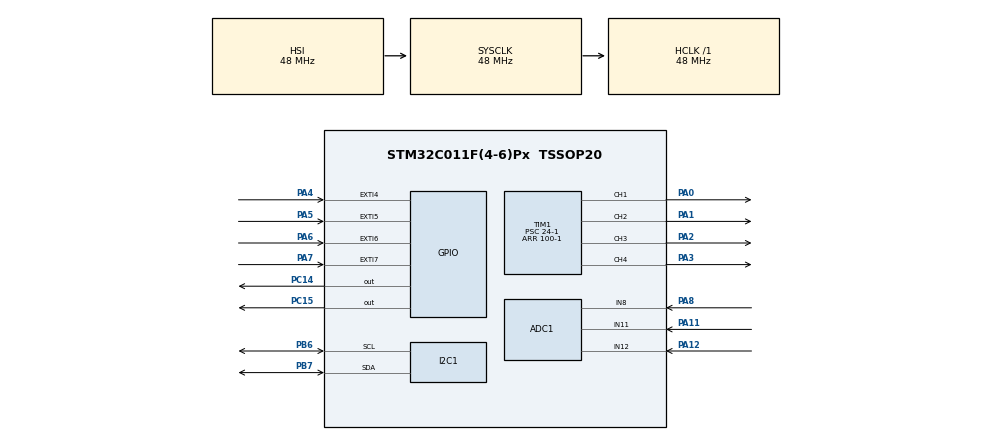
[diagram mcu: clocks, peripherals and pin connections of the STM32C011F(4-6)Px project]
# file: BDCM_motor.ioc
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ADC1.Channel-0\#ChannelRegularConversion=ADC_CHANNEL_TEMPSENSOR
ADC1.NbrOfConversionFlag=1
ADC1.Rank-0\#ChannelRegularConversion=1
ADC1.SamplingTime-0\#ChannelRegularConversion=ADC_SAMPLINGTIME_COMMON_1
ADC1.SelectedChannel=ADC_CHANNEL_TEMPSENSOR|ADC_CHANNEL_8|ADC_CHANNEL_11|ADC_CHANNEL_12|ADC_CHANNEL_VDDA
ADC1.master=1
I2C1.OwnAddress=0x60
I2C1.Timing=0x20303E5D
Mcu.Family=STM32C0
Mcu.Name=STM32C011F(4-6)Px
Mcu.Package=TSSOP20
NVIC.EXTI4_15_IRQn=true\:0\:0\:false\:false\:true\:true\:true\:true
NVIC.I2C1_IRQn=true\:0\:0\:false\:false\:true\:true\:true\:true
NVIC.TIM14_IRQn=true\:0\:0\:false\:false\:true\:true\:true\:true
NVIC.TIM1_CC_IRQn=true\:0\:0\:false\:false\:true\:true\:true\:true
PA0.Signal=S_TIM1_CH1
PA1.Signal=S_TIM1_CH2
PA11\ [PA9].Mode=IN11
PA11\ [PA9].Signal=ADC1_IN11
PA12\ [PA10].Mode=IN12
PA12\ [PA10].Signal=ADC1_IN12
PA2.Signal=S_TIM1_CH3
PA3.Signal=S_TIM1_CH4
PA4.GPIO_ModeDefaultEXTI=GPIO_MODE_IT_RISING_FALLING
PA4.GPIO_PuPd=GPIO_PULLUP
PA4.Signal=GPXTI4
PA5.GPIO_ModeDefaultEXTI=GPIO_MODE_IT_RISING_FALLING
PA5.GPIO_PuPd=GPIO_PULLUP
PA5.Signal=GPXTI5
PA6.GPIO_ModeDefaultEXTI=GPIO_MODE_IT_RISING_FALLING
PA6.GPIO_PuPd=GPIO_PULLUP
PA6.Signal=GPXTI6
PA7.GPIO_ModeDefaultEXTI=GPIO_MODE_IT_RISING_FALLING
PA7.GPIO_PuPd=GPIO_PULLUP
PA7.Signal=GPXTI7
PA8.Mode=IN8
PA8.Signal=ADC1_IN8
PB6.GPIO_Pu=GPIO_PULLUP
PB6.Mode=I2C
PB6.Signal=I2C1_SCL
PB7.GPIO_Pu=GPIO_PULLUP
PB7.Mode=I2C
PB7.Signal=I2C1_SDA
PC14-OSCX_IN\ (PC14).Signal=GPIO_Output
PC15-OSCX_OUT\ (PC15).Signal=GPIO_Output
ProjectManager.HeapSize=0x200
ProjectManager.StackSize=0x400
ProjectManager.TargetToolchain=STM32CubeIDE
RCC.ADCFreq_Value=48000000
RCC.AHBFreq_Value=48000000
RCC.CortexFreq_Value=48000000
RCC.EXTERNAL_CLOCK_VALUE=12288000
RCC.HCLKFreq_Value=48000000
RCC.HSE_VALUE=8000000
RCC.HSISYSCLKDivider=RCC_HSI_DIV1
RCC.HSI_VALUE=48000000
RCC.LSE_VALUE=32768
RCC.SYSCLKFreq_VALUE=48000000
SH.S_TIM1_CH1.0=TIM1_CH1,PWM Generation1 CH1
SH.S_TIM1_CH2.0=TIM1_CH2,PWM Generation2 CH2
SH.S_TIM1_CH3.0=TIM1_CH3,PWM Generation3 CH3
SH.S_TIM1_CH4.0=TIM1_CH4,PWM Generation4 CH4
TIM1.Channel-PWM\ Generation1\ CH1=TIM_CHANNEL_1
TIM1.Channel-PWM\ Generation2\ CH2=TIM_CHANNEL_2
TIM1.Channel-PWM\ Generation3\ CH3=TIM_CHANNEL_3
TIM1.Channel-PWM\ Generation4\ CH4=TIM_CHANNEL_4
TIM1.Period=100-1
TIM1.Prescaler=24-1
TIM14.AutoReloadPreload=TIM_AUTORELOAD_PRELOAD_DISABLE
TIM14.Channel=TIM_CHANNEL_1
TIM14.Period=1000
TIM14.Prescaler=48-1
VP_ADC1_TempSens_Input.Mode=IN-TempSens
VP_ADC1_Vdda_Input.Mode=IN-VDDA
VP_TIM14_VS_ClockSourceINT.Mode=Enable_Timer
VP_TIM14_VS_no_output1.Mode=Output Compare1 No Output
board=custom

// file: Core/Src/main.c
/* USER CODE BEGIN Header */
/**
  ******************************************************************************
  * @file           : main.c
  * @brief          : Main program body
  ******************************************************************************
  * @attention
  *
  * Copyright (c) 2024 STMicroelectronics.
  * All rights reserved.
  *
  * This software is licensed under terms that can be found in the LICENSE file
  * in the root directory of this software component.
  * If no LICENSE file comes with this software, it is provided AS-IS.
  *
  ******************************************************************************
  */
/* USER CODE END Header */
#include "main.h"

ADC_HandleTypeDef hadc1;

I2C_HandleTypeDef hi2c1;

TIM_HandleTypeDef htim1;
TIM_HandleTypeDef htim14;

void SystemClock_Config(void);
static void MX_GPIO_Init(void);
static void MX_ADC1_Init(void);
static void MX_TIM1_Init(void);
static void MX_TIM14_Init(void);
static void MX_I2C1_Init(void);

/* USER CODE BEGIN 0 */
void HAL_TIM_PeriodElapsedCallback(TIM_HandleTypeDef *htim)
  {
  	if (htim == &htim1){

  	} else if (htim == &htim14){
  		HAL_GPIO_TogglePin(GPIOC, GPIO_PIN_14);
  		HAL_GPIO_TogglePin(GPIOC, GPIO_PIN_15);
  		__HAL_TIM_SET_COMPARE(&htim1, TIM_CHANNEL_1, 0);
  		__HAL_TIM_SET_COMPARE(&htim1, TIM_CHANNEL_2, 99);
  		HAL_Delay(100);
  		HAL_GPIO_TogglePin(GPIOC, GPIO_PIN_14);
  		HAL_GPIO_TogglePin(GPIOC, GPIO_PIN_15);
  		__HAL_TIM_SET_COMPARE(&htim1, TIM_CHANNEL_1, 99);
  		__HAL_TIM_SET_COMPARE(&htim1, TIM_CHANNEL_2, 0);
  	}
  }

void HAL_GPIO_EXTI_Callback(uint16_t GPIO_Pin)
{
	if (GPIO_Pin == GPIO_PIN_4) {

	} else if (GPIO_Pin == GPIO_PIN_5) {

	} else if (GPIO_Pin == GPIO_PIN_6) {

	} else if (GPIO_Pin == GPIO_PIN_7) {

	}
}
/* USER CODE END 0 */

int main(void)
{

  /* MCU Configuration--------------------------------------------------------*/

  /* Reset of all peripherals, Initializes the Flash interface and the Systick. */
  HAL_Init();

  /* Configure the system clock */
  SystemClock_Config();

  /* Initialize all configured peripherals */
  MX_GPIO_Init();
  MX_ADC1_Init();
  MX_TIM1_Init();
  MX_TIM14_Init();
  MX_I2C1_Init();
  /* USER CODE BEGIN 2 */

  HAL_TIM_PWM_Start(&htim1, TIM_CHANNEL_1);
  HAL_TIM_PWM_Start(&htim1, TIM_CHANNEL_2);
  HAL_TIM_PWM_Start(&htim1, TIM_CHANNEL_3);
  HAL_TIM_PWM_Start(&htim1, TIM_CHANNEL_4);
  __HAL_TIM_SET_COMPARE(&htim1, TIM_CHANNEL_1, 50);
  __HAL_TIM_SET_COMPARE(&htim1, TIM_CHANNEL_2, 99);
  __HAL_TIM_SET_COMPARE(&htim1, TIM_CHANNEL_3, 50);
  __HAL_TIM_SET_COMPARE(&htim1, TIM_CHANNEL_4, 99);

  HAL_TIM_PWM_Start(&htim1, TIM_CHANNEL_1);
  HAL_TIM_PWM_Start(&htim1, TIM_CHANNEL_2);
  HAL_TIM_PWM_Start(&htim1, TIM_CHANNEL_3);
  HAL_TIM_PWM_Start(&htim1, TIM_CHANNEL_4);

  HAL_GPIO_TogglePin(GPIOC, GPIO_PIN_14);
  /* USER CODE END 2 */

  /* Infinite loop */
  /* USER CODE BEGIN WHILE */
  while (1)
  {
	  HAL_GPIO_TogglePin(GPIOC, GPIO_PIN_14);
	  HAL_GPIO_TogglePin(GPIOC, GPIO_PIN_15);
	  __HAL_TIM_SET_COMPARE(&htim1, TIM_CHANNEL_1, 0);
	  __HAL_TIM_SET_COMPARE(&htim1, TIM_CHANNEL_2, 99);
	  HAL_Delay(100);
	  HAL_GPIO_TogglePin(GPIOC, GPIO_PIN_14);
	  HAL_GPIO_TogglePin(GPIOC, GPIO_PIN_15);
	  __HAL_TIM_SET_COMPARE(&htim1, TIM_CHANNEL_1, 99);
	  __HAL_TIM_SET_COMPARE(&htim1, TIM_CHANNEL_2, 0);
	  HAL_Delay(100);
    /* USER CODE END WHILE */

  }
}

void SystemClock_Config(void)
{
  RCC_OscInitTypeDef RCC_OscInitStruct = {0};
  RCC_ClkInitTypeDef RCC_ClkInitStruct = {0};

  /** Initializes the RCC Oscillators according to the specified parameters
  * in the RCC_OscInitTypeDef structure.
  */
  RCC_OscInitStruct.OscillatorType = RCC_OSCILLATORTYPE_HSI;
  RCC_OscInitStruct.HSIState = RCC_HSI_ON;
  RCC_OscInitStruct.HSIDiv = RCC_HSI_DIV1;
  RCC_OscInitStruct.HSICalibrationValue = RCC_HSICALIBRATION_DEFAULT;
  if (HAL_RCC_OscConfig(&RCC_OscInitStruct) != HAL_OK)
  {
    Error_Handler();
  }

  /** Initializes the CPU, AHB and APB buses clocks
  */
  RCC_ClkInitStruct.ClockType = RCC_CLOCKTYPE_HCLK|RCC_CLOCKTYPE_SYSCLK
                              |RCC_CLOCKTYPE_PCLK1;
  RCC_ClkInitStruct.SYSCLKSource = RCC_SYSCLKSOURCE_HSI;
  RCC_ClkInitStruct.SYSCLKDivider = RCC_SYSCLK_DIV1;
  RCC_ClkInitStruct.AHBCLKDivider = RCC_HCLK_DIV1;
  RCC_ClkInitStruct.APB1CLKDivider = RCC_APB1_DIV1;

  if (HAL_RCC_ClockConfig(&RCC_ClkInitStruct, FLASH_LATENCY_1) != HAL_OK)
  {
    Error_Handler();
  }
}

static void MX_ADC1_Init(void)
{

  ADC_ChannelConfTypeDef sConfig = {0};

  /** Configure the global features of the ADC (Clock, Resolution, Data Alignment and number of conversion)
  */
  hadc1.Instance = ADC1;
  hadc1.Init.ClockPrescaler = ADC_CLOCK_SYNC_PCLK_DIV2;
  hadc1.Init.Resolution = ADC_RESOLUTION_12B;
  hadc1.Init.DataAlign = ADC_DATAALIGN_RIGHT;
  hadc1.Init.ScanConvMode = ADC_SCAN_DISABLE;
  hadc1.Init.EOCSelection = ADC_EOC_SINGLE_CONV;
  hadc1.Init.LowPowerAutoWait = DISABLE;
  hadc1.Init.LowPowerAutoPowerOff = DISABLE;
  hadc1.Init.ContinuousConvMode = DISABLE;
  hadc1.Init.NbrOfConversion = 1;
  hadc1.Init.DiscontinuousConvMode = DISABLE;
  hadc1.Init.ExternalTrigConv = ADC_SOFTWARE_START;
  hadc1.Init.ExternalTrigConvEdge = ADC_EXTERNALTRIGCONVEDGE_NONE;
  hadc1.Init.DMAContinuousRequests = DISABLE;
  hadc1.Init.Overrun = ADC_OVR_DATA_PRESERVED;
  hadc1.Init.SamplingTimeCommon1 = ADC_SAMPLETIME_1CYCLE_5;
  hadc1.Init.SamplingTimeCommon2 = ADC_SAMPLETIME_1CYCLE_5;
  hadc1.Init.OversamplingMode = DISABLE;
  hadc1.Init.TriggerFrequencyMode = ADC_TRIGGER_FREQ_HIGH;
  if (HAL_ADC_Init(&hadc1) != HAL_OK)
  {
    Error_Handler();
  }

  /** Configure Regular Channel
  */
  sConfig.Channel = ADC_CHANNEL_TEMPSENSOR;
  sConfig.Rank = ADC_REGULAR_RANK_1;
  sConfig.SamplingTime = ADC_SAMPLINGTIME_COMMON_1;
  if (HAL_ADC_ConfigChannel(&hadc1, &sConfig) != HAL_OK)
  {
    Error_Handler();
  }

}

static void MX_I2C1_Init(void)
{

  hi2c1.Instance = I2C1;
  hi2c1.Init.Timing = 0x20303E5D;
  hi2c1.Init.OwnAddress1 = 192;
  hi2c1.Init.AddressingMode = I2C_ADDRESSINGMODE_7BIT;
  hi2c1.Init.DualAddressMode = I2C_DUALADDRESS_DISABLE;
  hi2c1.Init.OwnAddress2 = 0;
  hi2c1.Init.OwnAddress2Masks = I2C_OA2_NOMASK;
  hi2c1.Init.GeneralCallMode = I2C_GENERALCALL_DISABLE;
  hi2c1.Init.NoStretchMode = I2C_NOSTRETCH_DISABLE;
  if (HAL_I2C_Init(&hi2c1) != HAL_OK)
  {
    Error_Handler();
  }

  /** Configure Analogue filter
  */
  if (HAL_I2CEx_ConfigAnalogFilter(&hi2c1, I2C_ANALOGFILTER_ENABLE) != HAL_OK)
  {
    Error_Handler();
  }

  /** Configure Digital filter
  */
  if (HAL_I2CEx_ConfigDigitalFilter(&hi2c1, 0) != HAL_OK)
  {
    Error_Handler();
  }

}

static void MX_TIM1_Init(void)
{

  TIM_MasterConfigTypeDef sMasterConfig = {0};
  TIM_OC_InitTypeDef sConfigOC = {0};
  TIM_BreakDeadTimeConfigTypeDef sBreakDeadTimeConfig = {0};

  htim1.Instance = TIM1;
  htim1.Init.Prescaler = 24-1;
  htim1.Init.CounterMode = TIM_COUNTERMODE_UP;
  htim1.Init.Period = 100-1;
  htim1.Init.ClockDivision = TIM_CLOCKDIVISION_DIV1;
  htim1.Init.RepetitionCounter = 0;
  htim1.Init.AutoReloadPreload = TIM_AUTORELOAD_PRELOAD_DISABLE;
  if (HAL_TIM_PWM_Init(&htim1) != HAL_OK)
  {
    Error_Handler();
  }
  sMasterConfig.MasterOutputTrigger = TIM_TRGO_RESET;
  sMasterConfig.MasterOutputTrigger2 = TIM_TRGO2_RESET;
  sMasterConfig.MasterSlaveMode = TIM_MASTERSLAVEMODE_DISABLE;
  if (HAL_TIMEx_MasterConfigSynchronization(&htim1, &sMasterConfig) != HAL_OK)
  {
    Error_Handler();
  }
  sConfigOC.OCMode = TIM_OCMODE_PWM1;
  sConfigOC.Pulse = 0;
  sConfigOC.OCPolarity = TIM_OCPOLARITY_HIGH;
  sConfigOC.OCNPolarity = TIM_OCNPOLARITY_HIGH;
  sConfigOC.OCFastMode = TIM_OCFAST_DISABLE;
  sConfigOC.OCIdleState = TIM_OCIDLESTATE_RESET;
  sConfigOC.OCNIdleState = TIM_OCNIDLESTATE_RESET;
  if (HAL_TIM_PWM_ConfigChannel(&htim1, &sConfigOC, TIM_CHANNEL_1) != HAL_OK)
  {
    Error_Handler();
  }
  if (HAL_TIM_PWM_ConfigChannel(&htim1, &sConfigOC, TIM_CHANNEL_2) != HAL_OK)
  {
    Error_Handler();
  }
  if (HAL_TIM_PWM_ConfigChannel(&htim1, &sConfigOC, TIM_CHANNEL_3) != HAL_OK)
  {
    Error_Handler();
  }
  if (HAL_TIM_PWM_ConfigChannel(&htim1, &sConfigOC, TIM_CHANNEL_4) != HAL_OK)
  {
    Error_Handler();
  }
  sBreakDeadTimeConfig.OffStateRunMode = TIM_OSSR_DISABLE;
  sBreakDeadTimeConfig.OffStateIDLEMode = TIM_OSSI_DISABLE;
  sBreakDeadTimeConfig.LockLevel = TIM_LOCKLEVEL_OFF;
  sBreakDeadTimeConfig.DeadTime = 0;
  sBreakDeadTimeConfig.BreakState = TIM_BREAK_DISABLE;
  sBreakDeadTimeConfig.BreakPolarity = TIM_BREAKPOLARITY_HIGH;
  sBreakDeadTimeConfig.BreakFilter = 0;
  sBreakDeadTimeConfig.BreakAFMode = TIM_BREAK_AFMODE_INPUT;
  sBreakDeadTimeConfig.Break2State = TIM_BREAK2_DISABLE;
  sBreakDeadTimeConfig.Break2Polarity = TIM_BREAK2POLARITY_HIGH;
  sBreakDeadTimeConfig.Break2Filter = 0;
  sBreakDeadTimeConfig.Break2AFMode = TIM_BREAK_AFMODE_INPUT;
  sBreakDeadTimeConfig.AutomaticOutput = TIM_AUTOMATICOUTPUT_DISABLE;
  if (HAL_TIMEx_ConfigBreakDeadTime(&htim1, &sBreakDeadTimeConfig) != HAL_OK)
  {
    Error_Handler();
  }
  HAL_TIM_MspPostInit(&htim1);

}

static void MX_TIM14_Init(void)
{

  TIM_OC_InitTypeDef sConfigOC = {0};

  htim14.Instance = TIM14;
  htim14.Init.Prescaler = 48-1;
  htim14.Init.CounterMode = TIM_COUNTERMODE_UP;
  htim14.Init.Period = 1000;
  htim14.Init.ClockDivision = TIM_CLOCKDIVISION_DIV1;
  htim14.Init.AutoReloadPreload = TIM_AUTORELOAD_PRELOAD_DISABLE;
  if (HAL_TIM_Base_Init(&htim14) != HAL_OK)
  {
    Error_Handler();
  }
  if (HAL_TIM_OC_Init(&htim14) != HAL_OK)
  {
    Error_Handler();
  }
  sConfigOC.OCMode = TIM_OCMODE_TIMING;
  sConfigOC.Pulse = 0;
  sConfigOC.OCPolarity = TIM_OCPOLARITY_HIGH;
  sConfigOC.OCFastMode = TIM_OCFAST_DISABLE;
  if (HAL_TIM_OC_ConfigChannel(&htim14, &sConfigOC, TIM_CHANNEL_1) != HAL_OK)
  {
    Error_Handler();
  }

}

static void MX_GPIO_Init(void)
{
  GPIO_InitTypeDef GPIO_InitStruct = {0};

  /* GPIO Ports Clock Enable */
  __HAL_RCC_GPIOB_CLK_ENABLE();
  __HAL_RCC_GPIOC_CLK_ENABLE();
  __HAL_RCC_GPIOA_CLK_ENABLE();

  /*Configure GPIO pin Output Level */
  HAL_GPIO_WritePin(GPIOC, GPIO_PIN_14|GPIO_PIN_15, GPIO_PIN_RESET);

  /*Configure GPIO pins : PC14 PC15 */
  GPIO_InitStruct.Pin = GPIO_PIN_14|GPIO_PIN_15;
  GPIO_InitStruct.Mode = GPIO_MODE_OUTPUT_PP;
  GPIO_InitStruct.Pull = GPIO_NOPULL;
  GPIO_InitStruct.Speed = GPIO_SPEED_FREQ_LOW;
  HAL_GPIO_Init(GPIOC, &GPIO_InitStruct);

  /*Configure GPIO pins : PA4 PA5 PA6 PA7 */
  GPIO_InitStruct.Pin = GPIO_PIN_4|GPIO_PIN_5|GPIO_PIN_6|GPIO_PIN_7;
  GPIO_InitStruct.Mode = GPIO_MODE_IT_RISING_FALLING;
  GPIO_InitStruct.Pull = GPIO_PULLUP;
  HAL_GPIO_Init(GPIOA, &GPIO_InitStruct);

  /* EXTI interrupt init*/
  HAL_NVIC_SetPriority(EXTI4_15_IRQn, 0, 0);
  HAL_NVIC_EnableIRQ(EXTI4_15_IRQn);

}

void Error_Handler(void)
{
  __disable_irq();
  while (1)
  {
  }
}
